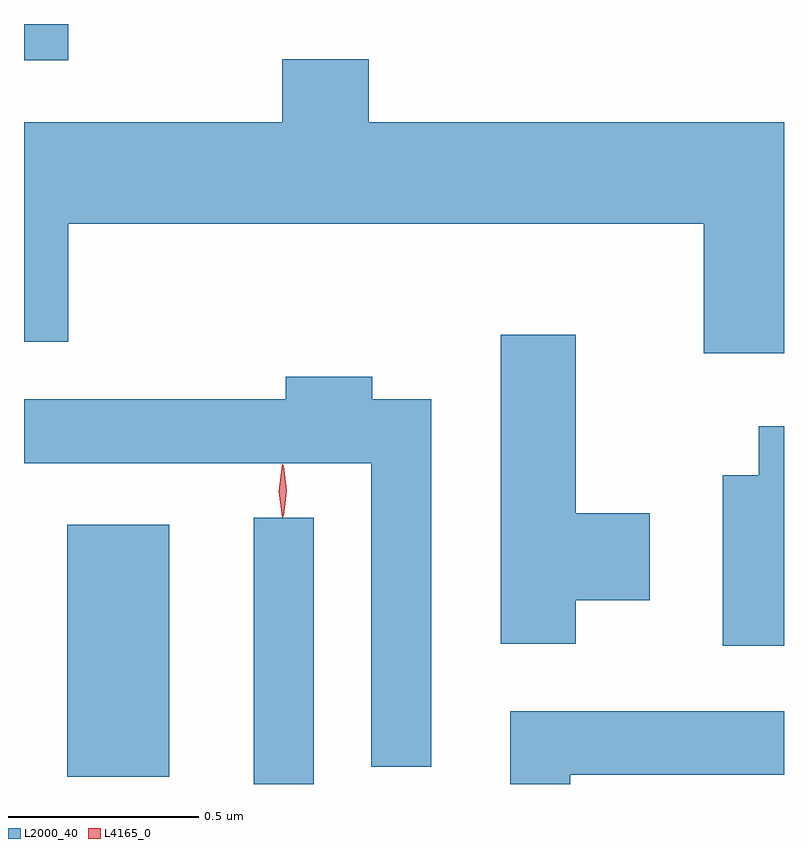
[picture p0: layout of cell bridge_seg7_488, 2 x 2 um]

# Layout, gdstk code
import gdstk
lib = gdstk.Library(unit=1e-6, precision=1e-09)
def R(c, l, rs):  # rectangles x0, y0, x1, y1
    for r in rs: c.add(gdstk.rectangle(r[:2], r[2:], *l))
def P(c, l, *ps):  # polygons
    for p in ps: c.add(gdstk.Polygon(p, *l))
L2000_40 = (2000, 40)
L4165_0 = (4165, 0)

bridge_seg7_488 = lib.new_cell('bridge_seg7_488')
R(bridge_seg7_488, L2000_40, [(1131.876,1692.862,1132.034,1693.563), (1131.386,1692.881,1131.654,1693.544), (1131.272,1694.766,1131.388,1694.862)])
P(bridge_seg7_488, L2000_40, [(1133.272,1694.604),(1132.179,1694.604),(1132.179,1694.769),(1131.951,1694.769),(1131.951,1694.604),(1131.272,1694.604),(1131.272,1694.026),(1131.389,1694.026),(1131.389,1694.336),(1133.061,1694.336),(1133.061,1693.996),(1133.272,1693.996)],
  [(1132.724,1693.346),(1132.919,1693.346),(1132.919,1693.574),(1132.724,1693.574),(1132.724,1694.044),(1132.526,1694.044),(1132.526,1693.231),(1132.724,1693.231)],
  [(1132.344,1693.874),(1132.189,1693.874),(1132.189,1693.934),(1131.961,1693.934),(1131.961,1693.874),(1131.272,1693.874),(1131.272,1693.706),(1132.186,1693.706),(1132.186,1692.908),(1132.344,1692.908)],
  [(1133.272,1693.804),(1133.206,1693.804),(1133.206,1693.674),(1133.111,1693.674),(1133.111,1693.226),(1133.272,1693.226)],
  [(1132.709,1692.886),(1133.272,1692.886),(1133.272,1693.054),(1132.551,1693.054),(1132.551,1692.862),(1132.709,1692.862)])
P(bridge_seg7_488, L4165_0, [(1131.954,1693.567),(1131.954,1693.568),(1131.944,1693.634),(1131.954,1693.7),(1131.954,1693.701),(1131.955,1693.7),(1131.964,1693.634),(1131.955,1693.568)],
  [(1131.953,1693.563),(1131.952,1693.564),(1131.943,1693.633),(1131.952,1693.702),(1131.953,1693.703),(1131.953,1693.702),(1131.963,1693.633),(1131.953,1693.564)])

lib.write_gds('bridge_seg7_488.gds')
